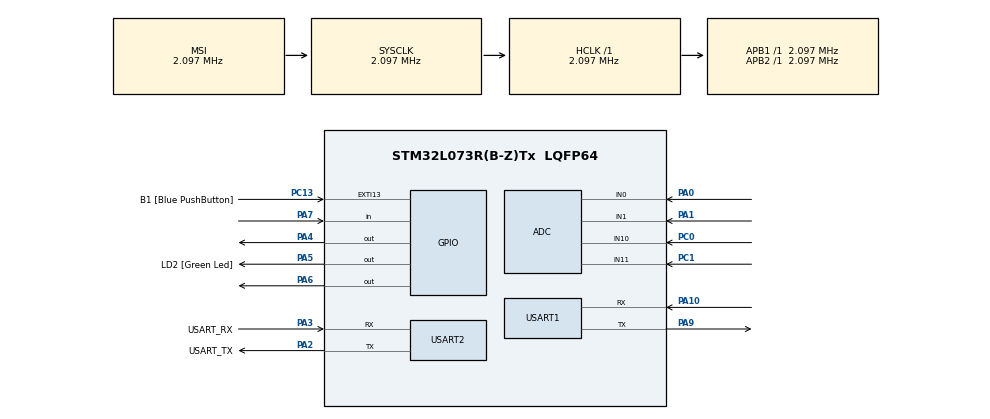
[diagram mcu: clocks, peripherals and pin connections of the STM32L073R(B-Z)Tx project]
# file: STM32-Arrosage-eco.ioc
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Mcu.Family=STM32L0
Mcu.Name=STM32L073R(B-Z)Tx
Mcu.Package=LQFP64
PA0.Mode=IN0
PA0.Signal=ADC_IN0
PA1.Mode=IN1
PA1.Signal=ADC_IN1
PA10.Mode=Asynchronous
PA10.Signal=USART1_RX
PA13.GPIO_Label=TMS
PA13.Mode=Serial_Wire
PA13.Signal=SYS_SWDIO
PA14.GPIO_Label=TCK
PA14.Mode=Serial_Wire
PA14.Signal=SYS_SWCLK
PA2.GPIO_Label=USART_TX
PA2.Mode=Asynchronous
PA2.Signal=USART2_TX
PA3.GPIO_Label=USART_RX
PA3.Mode=Asynchronous
PA3.Signal=USART2_RX
PA4.Signal=GPIO_Output
PA5.GPIO_Label=LD2 [Green Led]
PA5.Signal=GPIO_Output
PA6.Signal=GPIO_Output
PA7.Signal=GPIO_Input
PA9.Mode=Asynchronous
PA9.Signal=USART1_TX
PC0.Mode=IN10
PC0.Signal=ADC_IN10
PC1.Mode=IN11
PC1.Signal=ADC_IN11
PC13.GPIO_Label=B1 [Blue PushButton]
PC13.GPIO_ModeDefaultEXTI=GPIO_MODE_IT_FALLING
PC13.Signal=GPXTI13
PC14-OSC32_IN.Mode=LSE-External-Oscillator
PC14-OSC32_IN.Signal=RCC_OSC32_IN
PC15-OSC32_OUT.Mode=LSE-External-Oscillator
PC15-OSC32_OUT.Signal=RCC_OSC32_OUT
PH0-OSC_IN.GPIO_Label=MCO
PH0-OSC_IN.Mode=HSE-External-Clock-Source
PH0-OSC_IN.Signal=RCC_OSC_IN
ProjectManager.HeapSize=0x200
ProjectManager.StackSize=0x400
ProjectManager.TargetToolchain=STM32CubeIDE
RCC.AHBFreq_Value=2097000
RCC.APB1Freq_Value=2097000
RCC.APB1TimFreq_Value=2097000
RCC.APB2Freq_Value=2097000
RCC.APB2TimFreq_Value=2097000
RCC.HSE_VALUE=8000000
RCC.HSI16_VALUE=16000000
RCC.HSI48_VALUE=48000000
RCC.HSI_VALUE=16000000
RCC.MSI_VALUE=2097000
RCC.SYSCLKFreq_VALUE=2097000
RCC.VCOOutputFreq_Value=48000000
USART1.VirtualMode-Asynchronous=VM_ASYNC
USART2.VirtualMode-Asynchronous=VM_ASYNC
board=NUCLEO-L073RZ

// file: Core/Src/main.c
/* USER CODE BEGIN Header */
/**
 ******************************************************************************
 * @file           : main.c
 * @brief          : Main program body
 ******************************************************************************
 * @attention
 *
 * Copyright (c) 2023 STMicroelectronics.
 * All rights reserved.
 *
 * This software is licensed under terms that can be found in the LICENSE file
 * in the root directory of this software component.
 * If no LICENSE file comes with this software, it is provided AS-IS.
 *
 ******************************************************************************
 */
/* USER CODE END Header */
#include "main.h"

/* USER CODE BEGIN Includes */
#include <string.h>

/* USER CODE END Includes */

UART_HandleTypeDef huart1;
UART_HandleTypeDef huart2;

void SystemClock_Config(void);
static void MX_GPIO_Init(void);
static void MX_USART2_UART_Init(void);
static void MX_USART1_UART_Init(void);
static void MX_ADC_Init(void);

/* USER CODE BEGIN 0 */

float convert_moisture(int moisture_ADC)
{
	return (moisture_ADC / 4095.0) * 100.0;
}

float convert_temperature(int temperature_ADC)
{
	float temperature_voltage = temperature_ADC * (3.3 / 4095);
	return ((temperature_voltage - 0.75) / 0.01) + 21;
}

float convert_water(int water_ADC)
{
	return (water_ADC / 4095.0) * 100.0;
}

float convert_battery(int battery_ADC) {
	return ((battery_ADC / 4095.0) * (3.3 / 2)) * 100;
}

float convert_sun(int sun_ADC) {
	return ((sun_ADC / 4095.0) * 1.5202) * 100;
}

int read_channel(int channel)
{
	LL_ADC_REG_SetSequencerChannels(ADC1, channel);
	LL_ADC_REG_StartConversion(ADC1);

	while(LL_ADC_IsActiveFlag_EOC(ADC1) != 1);

	return LL_ADC_REG_ReadConversionData12(ADC1);
}

int isWateringNeeded(int moisture_reading, int moisture_min) {
    return (moisture_reading < moisture_min);
}

int isTemperatureConditionsMet(int temperature_reading, int temp_min, int temp_max) {
    return (temperature_reading >= temp_min && temperature_reading <= temp_max);
}

/* USER CODE END 0 */

int main(void)
{
  /* USER CODE BEGIN 1 */
    // Pourcentage de batterie	PC1
    float battery = 0;	// Max 4V

    // Pourcentage d'humidité	PA0
    float moisture = 0;

    // Pourcentage d'ensoleillement	PC0
    float sun = 0;	// Max 6.52V

    // Température de l'air en degrés Celsius 	PA1
    float temperature = 0;

    // Pourcentage du niveau d'eau	PA6
    float water = 0;

    // Relai en PA4

    // Infos de la plante
    int currentPlantId = 0;
    int moisture_min = 40;
    int moisture_max = 60;
    int temp_min_day = 13;
    int temp_max_day = 35;
    int temp_min_night = 10;
    int temp_max_night = 27;

    // Variables pour envoyer et recevoir les données
    char tx_data[128];
    char rx_data[256];

    uint32_t rawADCValue = 0;
  /* USER CODE END 1 */

  /* MCU Configuration--------------------------------------------------------*/

  /* Reset of all peripherals, Initializes the Flash interface and the Systick. */
  HAL_Init();

  /* Configure the system clock */
  SystemClock_Config();

  /* Initialize all configured peripherals */
  MX_GPIO_Init();
  MX_USART2_UART_Init();
  MX_USART1_UART_Init();
  MX_ADC_Init();
  /* USER CODE BEGIN 2 */

  LL_SYSTICK_EnableIT();

  // Enable the ADC1 port
  LL_ADC_Enable(ADC1);
  LL_ADC_SetCommonPathInternalCh(__LL_ADC_COMMON_INSTANCE(ADC1), LL_ADC_PATH_INTERNAL_TEMPSENSOR | LL_ADC_PATH_INTERNAL_VREFINT);

  /* USER CODE END 2 */

  /* Infinite loop */
  /* USER CODE BEGIN WHILE */
    while (1) {

        // Moisture
        rawADCValue = read_channel(LL_ADC_CHANNEL_0);
        moisture = convert_moisture(rawADCValue);

        // Temperature
        rawADCValue = read_channel(LL_ADC_CHANNEL_1);
        temperature = convert_temperature(rawADCValue);

        // Water
        // rawADCValue = get_water();
        water = 32 ; // rawADCValue * 0.17;

        // Sun
        rawADCValue = read_channel(LL_ADC_CHANNEL_10);
        sun = convert_sun(rawADCValue);

        // Battery
        rawADCValue = read_channel(LL_ADC_CHANNEL_11);
        battery = convert_battery(rawADCValue);

        // Envoie des données au serveur
        sprintf(tx_data, "{\"battery\": %d,\"moisture\": %d,\"sun\": %d,\"temperature\": %d,\"water\": %d,\"currentPlantId\": %d}",
            (int)battery, (int)moisture, (int)sun, (int)temperature, (int)water, (int)currentPlantId);
        HAL_UART_Transmit( & huart1, (uint8_t * ) tx_data, strlen(tx_data), 100);

        if (isWateringNeeded(moisture, moisture_min)) {
            if (isTemperatureConditionsMet(temperature, temp_min_day, temp_max_day)) {
            	LL_GPIO_SetOutputPin(GPIOA, LL_GPIO_PIN_4);
            } else {
            	LL_GPIO_ResetOutputPin(GPIOA, LL_GPIO_PIN_4);
            }
        } else {
        	LL_GPIO_ResetOutputPin(GPIOA, LL_GPIO_PIN_4);
        }

        HAL_Delay(1000);
    /* USER CODE END WHILE */

    }
}

void SystemClock_Config(void)
{
  RCC_OscInitTypeDef RCC_OscInitStruct = {0};
  RCC_ClkInitTypeDef RCC_ClkInitStruct = {0};
  RCC_PeriphCLKInitTypeDef PeriphClkInit = {0};

  /** Configure the main internal regulator output voltage
  */
  __HAL_PWR_VOLTAGESCALING_CONFIG(PWR_REGULATOR_VOLTAGE_SCALE1);

  /** Initializes the RCC Oscillators according to the specified parameters
  * in the RCC_OscInitTypeDef structure.
  */
  RCC_OscInitStruct.OscillatorType = RCC_OSCILLATORTYPE_MSI;
  RCC_OscInitStruct.MSIState = RCC_MSI_ON;
  RCC_OscInitStruct.MSICalibrationValue = 0;
  RCC_OscInitStruct.MSIClockRange = RCC_MSIRANGE_5;
  RCC_OscInitStruct.PLL.PLLState = RCC_PLL_NONE;
  if (HAL_RCC_OscConfig(&RCC_OscInitStruct) != HAL_OK)
  {
    Error_Handler();
  }

  /** Initializes the CPU, AHB and APB buses clocks
  */
  RCC_ClkInitStruct.ClockType = RCC_CLOCKTYPE_HCLK|RCC_CLOCKTYPE_SYSCLK
                              |RCC_CLOCKTYPE_PCLK1|RCC_CLOCKTYPE_PCLK2;
  RCC_ClkInitStruct.SYSCLKSource = RCC_SYSCLKSOURCE_MSI;
  RCC_ClkInitStruct.AHBCLKDivider = RCC_SYSCLK_DIV1;
  RCC_ClkInitStruct.APB1CLKDivider = RCC_HCLK_DIV1;
  RCC_ClkInitStruct.APB2CLKDivider = RCC_HCLK_DIV1;

  if (HAL_RCC_ClockConfig(&RCC_ClkInitStruct, FLASH_LATENCY_0) != HAL_OK)
  {
    Error_Handler();
  }
  PeriphClkInit.PeriphClockSelection = RCC_PERIPHCLK_USART1|RCC_PERIPHCLK_USART2;
  PeriphClkInit.Usart1ClockSelection = RCC_USART1CLKSOURCE_PCLK2;
  PeriphClkInit.Usart2ClockSelection = RCC_USART2CLKSOURCE_PCLK1;
  if (HAL_RCCEx_PeriphCLKConfig(&PeriphClkInit) != HAL_OK)
  {
    Error_Handler();
  }
}

static void MX_ADC_Init(void)
{

  LL_ADC_REG_InitTypeDef ADC_REG_InitStruct = {0};
  LL_ADC_InitTypeDef ADC_InitStruct = {0};

  LL_GPIO_InitTypeDef GPIO_InitStruct = {0};

  /* Peripheral clock enable */
  LL_APB2_GRP1_EnableClock(LL_APB2_GRP1_PERIPH_ADC1);

  LL_IOP_GRP1_EnableClock(LL_IOP_GRP1_PERIPH_GPIOC);
  LL_IOP_GRP1_EnableClock(LL_IOP_GRP1_PERIPH_GPIOA);
  /**ADC GPIO Configuration
  PC0   ------> ADC_IN10
  PC1   ------> ADC_IN11
  PA0   ------> ADC_IN0
  PA1   ------> ADC_IN1
  */
  GPIO_InitStruct.Pin = LL_GPIO_PIN_0;
  GPIO_InitStruct.Mode = LL_GPIO_MODE_ANALOG;
  GPIO_InitStruct.Pull = LL_GPIO_PULL_NO;
  LL_GPIO_Init(GPIOC, &GPIO_InitStruct);

  GPIO_InitStruct.Pin = LL_GPIO_PIN_1;
  GPIO_InitStruct.Mode = LL_GPIO_MODE_ANALOG;
  GPIO_InitStruct.Pull = LL_GPIO_PULL_NO;
  LL_GPIO_Init(GPIOC, &GPIO_InitStruct);

  GPIO_InitStruct.Pin = LL_GPIO_PIN_0;
  GPIO_InitStruct.Mode = LL_GPIO_MODE_ANALOG;
  GPIO_InitStruct.Pull = LL_GPIO_PULL_NO;
  LL_GPIO_Init(GPIOA, &GPIO_InitStruct);

  GPIO_InitStruct.Pin = LL_GPIO_PIN_1;
  GPIO_InitStruct.Mode = LL_GPIO_MODE_ANALOG;
  GPIO_InitStruct.Pull = LL_GPIO_PULL_NO;
  LL_GPIO_Init(GPIOA, &GPIO_InitStruct);

  /** Configure Regular Channel
  */
  LL_ADC_REG_SetSequencerChAdd(ADC1, LL_ADC_CHANNEL_0);

  /** Configure Regular Channel
  */
  LL_ADC_REG_SetSequencerChAdd(ADC1, LL_ADC_CHANNEL_1);

  /** Configure Regular Channel
  */
  LL_ADC_REG_SetSequencerChAdd(ADC1, LL_ADC_CHANNEL_10);

  /** Configure Regular Channel
  */
  LL_ADC_REG_SetSequencerChAdd(ADC1, LL_ADC_CHANNEL_11);

  /** Common config
  */
  ADC_REG_InitStruct.TriggerSource = LL_ADC_REG_TRIG_SOFTWARE;
  ADC_REG_InitStruct.SequencerDiscont = LL_ADC_REG_SEQ_DISCONT_DISABLE;
  ADC_REG_InitStruct.ContinuousMode = LL_ADC_REG_CONV_SINGLE;
  ADC_REG_InitStruct.DMATransfer = LL_ADC_REG_DMA_TRANSFER_NONE;
  ADC_REG_InitStruct.Overrun = LL_ADC_REG_OVR_DATA_PRESERVED;
  LL_ADC_REG_Init(ADC1, &ADC_REG_InitStruct);
  LL_ADC_SetSamplingTimeCommonChannels(ADC1, LL_ADC_SAMPLINGTIME_1CYCLE_5);
  LL_ADC_SetOverSamplingScope(ADC1, LL_ADC_OVS_DISABLE);
  LL_ADC_REG_SetSequencerScanDirection(ADC1, LL_ADC_REG_SEQ_SCAN_DIR_FORWARD);
  LL_ADC_SetCommonFrequencyMode(__LL_ADC_COMMON_INSTANCE(ADC1), LL_ADC_CLOCK_FREQ_MODE_LOW);
  LL_ADC_DisableIT_EOC(ADC1);
  LL_ADC_DisableIT_EOS(ADC1);
  ADC_InitStruct.Clock = LL_ADC_CLOCK_SYNC_PCLK_DIV1;
  ADC_InitStruct.Resolution = LL_ADC_RESOLUTION_12B;
  ADC_InitStruct.DataAlignment = LL_ADC_DATA_ALIGN_RIGHT;
  ADC_InitStruct.LowPowerMode = LL_ADC_LP_MODE_NONE;
  LL_ADC_Init(ADC1, &ADC_InitStruct);

  /* Enable ADC internal voltage regulator */
  LL_ADC_EnableInternalRegulator(ADC1);
  /* Delay for ADC internal voltage regulator stabilization. */
  /* Compute number of CPU cycles to wait for, from delay in us. */
  /* Note: Variable divided by 2 to compensate partially */
  /* CPU processing cycles (depends on compilation optimization). */
  /* Note: If system core clock frequency is below 200kHz, wait time */
  /* is only a few CPU processing cycles. */
  uint32_t wait_loop_index;
  wait_loop_index = ((LL_ADC_DELAY_INTERNAL_REGUL_STAB_US * (SystemCoreClock / (100000 * 2))) / 10);
  while(wait_loop_index != 0)
  {
    wait_loop_index--;
  }

}

static void MX_USART1_UART_Init(void)
{

  huart1.Instance = USART1;
  huart1.Init.BaudRate = 115200;
  huart1.Init.WordLength = UART_WORDLENGTH_8B;
  huart1.Init.StopBits = UART_STOPBITS_1;
  huart1.Init.Parity = UART_PARITY_NONE;
  huart1.Init.Mode = UART_MODE_TX_RX;
  huart1.Init.HwFlowCtl = UART_HWCONTROL_NONE;
  huart1.Init.OverSampling = UART_OVERSAMPLING_16;
  huart1.Init.OneBitSampling = UART_ONE_BIT_SAMPLE_DISABLE;
  huart1.AdvancedInit.AdvFeatureInit = UART_ADVFEATURE_NO_INIT;
  if (HAL_UART_Init(&huart1) != HAL_OK)
  {
    Error_Handler();
  }

}

static void MX_USART2_UART_Init(void)
{

  huart2.Instance = USART2;
  huart2.Init.BaudRate = 115200;
  huart2.Init.WordLength = UART_WORDLENGTH_8B;
  huart2.Init.StopBits = UART_STOPBITS_1;
  huart2.Init.Parity = UART_PARITY_NONE;
  huart2.Init.Mode = UART_MODE_TX_RX;
  huart2.Init.HwFlowCtl = UART_HWCONTROL_NONE;
  huart2.Init.OverSampling = UART_OVERSAMPLING_16;
  huart2.Init.OneBitSampling = UART_ONE_BIT_SAMPLE_DISABLE;
  huart2.AdvancedInit.AdvFeatureInit = UART_ADVFEATURE_NO_INIT;
  if (HAL_UART_Init(&huart2) != HAL_OK)
  {
    Error_Handler();
  }

}

static void MX_GPIO_Init(void)
{
  LL_EXTI_InitTypeDef EXTI_InitStruct = {0};
  LL_GPIO_InitTypeDef GPIO_InitStruct = {0};

  /* GPIO Ports Clock Enable */
  LL_IOP_GRP1_EnableClock(LL_IOP_GRP1_PERIPH_GPIOC);
  LL_IOP_GRP1_EnableClock(LL_IOP_GRP1_PERIPH_GPIOH);
  LL_IOP_GRP1_EnableClock(LL_IOP_GRP1_PERIPH_GPIOA);

  /**/
  LL_GPIO_ResetOutputPin(GPIOA, LL_GPIO_PIN_4);

  /**/
  LL_GPIO_ResetOutputPin(LD2_GPIO_Port, LD2_Pin);

  /**/
  LL_GPIO_ResetOutputPin(GPIOA, LL_GPIO_PIN_6);

  /**/
  LL_SYSCFG_SetEXTISource(LL_SYSCFG_EXTI_PORTC, LL_SYSCFG_EXTI_LINE13);

  /**/
  LL_GPIO_SetPinPull(B1_GPIO_Port, B1_Pin, LL_GPIO_PULL_NO);

  /**/
  LL_GPIO_SetPinMode(B1_GPIO_Port, B1_Pin, LL_GPIO_MODE_INPUT);

  /**/
  EXTI_InitStruct.Line_0_31 = LL_EXTI_LINE_13;
  EXTI_InitStruct.LineCommand = ENABLE;
  EXTI_InitStruct.Mode = LL_EXTI_MODE_IT;
  EXTI_InitStruct.Trigger = LL_EXTI_TRIGGER_FALLING;
  LL_EXTI_Init(&EXTI_InitStruct);

  /**/
  GPIO_InitStruct.Pin = LL_GPIO_PIN_4;
  GPIO_InitStruct.Mode = LL_GPIO_MODE_OUTPUT;
  GPIO_InitStruct.Speed = LL_GPIO_SPEED_FREQ_LOW;
  GPIO_InitStruct.OutputType = LL_GPIO_OUTPUT_PUSHPULL;
  GPIO_InitStruct.Pull = LL_GPIO_PULL_NO;
  LL_GPIO_Init(GPIOA, &GPIO_InitStruct);

  /**/
  GPIO_InitStruct.Pin = LD2_Pin;
  GPIO_InitStruct.Mode = LL_GPIO_MODE_OUTPUT;
  GPIO_InitStruct.Speed = LL_GPIO_SPEED_FREQ_LOW;
  GPIO_InitStruct.OutputType = LL_GPIO_OUTPUT_PUSHPULL;
  GPIO_InitStruct.Pull = LL_GPIO_PULL_NO;
  LL_GPIO_Init(LD2_GPIO_Port, &GPIO_InitStruct);

  /**/
  GPIO_InitStruct.Pin = LL_GPIO_PIN_6;
  GPIO_InitStruct.Mode = LL_GPIO_MODE_OUTPUT;
  GPIO_InitStruct.Speed = LL_GPIO_SPEED_FREQ_LOW;
  GPIO_InitStruct.OutputType = LL_GPIO_OUTPUT_PUSHPULL;
  GPIO_InitStruct.Pull = LL_GPIO_PULL_NO;
  LL_GPIO_Init(GPIOA, &GPIO_InitStruct);

  /**/
  GPIO_InitStruct.Pin = LL_GPIO_PIN_7;
  GPIO_InitStruct.Mode = LL_GPIO_MODE_INPUT;
  GPIO_InitStruct.Pull = LL_GPIO_PULL_NO;
  LL_GPIO_Init(GPIOA, &GPIO_InitStruct);

}

void Error_Handler(void)
{
    __disable_irq();
    while (1) {}
}
